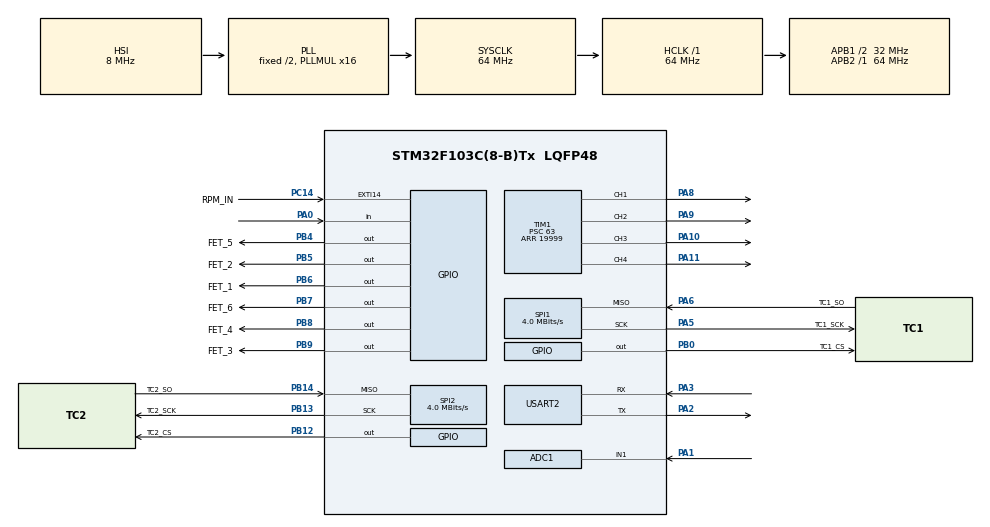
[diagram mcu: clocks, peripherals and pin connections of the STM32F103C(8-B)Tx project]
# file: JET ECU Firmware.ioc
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ADC1.Channel-0\#ChannelRegularConversion=ADC_CHANNEL_1
ADC1.Channel-1\#ChannelRegularConversion=ADC_CHANNEL_TEMPSENSOR
ADC1.ContinuousConvMode=ENABLE
ADC1.NbrOfConversion=2
ADC1.NbrOfConversionFlag=1
ADC1.Rank-0\#ChannelRegularConversion=1
ADC1.Rank-1\#ChannelRegularConversion=2
ADC1.SamplingTime-0\#ChannelRegularConversion=ADC_SAMPLETIME_239CYCLES_5
ADC1.SamplingTime-1\#ChannelRegularConversion=ADC_SAMPLETIME_239CYCLES_5
ADC1.master=1
Dma.ADC1.0.Direction=DMA_PERIPH_TO_MEMORY
Dma.ADC1.0.Instance=DMA1_Channel1
Dma.ADC1.0.MemDataAlignment=DMA_MDATAALIGN_HALFWORD
Dma.ADC1.0.MemInc=DMA_MINC_ENABLE
Dma.ADC1.0.Mode=DMA_CIRCULAR
Dma.ADC1.0.PeriphDataAlignment=DMA_PDATAALIGN_HALFWORD
Dma.ADC1.0.PeriphInc=DMA_PINC_DISABLE
Dma.ADC1.0.Priority=DMA_PRIORITY_MEDIUM
Dma.Request0=ADC1
Dma.Request1=USART2_RX
Dma.Request2=USART2_TX
Dma.Request3=SPI1_RX
Dma.Request4=SPI2_RX
Dma.SPI1_RX.3.Direction=DMA_PERIPH_TO_MEMORY
Dma.SPI1_RX.3.Instance=DMA1_Channel2
Dma.SPI1_RX.3.MemDataAlignment=DMA_MDATAALIGN_BYTE
Dma.SPI1_RX.3.MemInc=DMA_MINC_ENABLE
Dma.SPI1_RX.3.Mode=DMA_NORMAL
Dma.SPI1_RX.3.PeriphDataAlignment=DMA_PDATAALIGN_BYTE
Dma.SPI1_RX.3.PeriphInc=DMA_PINC_DISABLE
Dma.SPI1_RX.3.Priority=DMA_PRIORITY_MEDIUM
Dma.SPI2_RX.4.Direction=DMA_PERIPH_TO_MEMORY
Dma.SPI2_RX.4.Instance=DMA1_Channel4
Dma.SPI2_RX.4.MemDataAlignment=DMA_MDATAALIGN_BYTE
Dma.SPI2_RX.4.MemInc=DMA_MINC_ENABLE
Dma.SPI2_RX.4.Mode=DMA_NORMAL
Dma.SPI2_RX.4.PeriphDataAlignment=DMA_PDATAALIGN_BYTE
Dma.SPI2_RX.4.PeriphInc=DMA_PINC_DISABLE
Dma.SPI2_RX.4.Priority=DMA_PRIORITY_MEDIUM
Dma.USART2_RX.1.Direction=DMA_PERIPH_TO_MEMORY
Dma.USART2_RX.1.Instance=DMA1_Channel6
Dma.USART2_RX.1.MemDataAlignment=DMA_MDATAALIGN_BYTE
Dma.USART2_RX.1.MemInc=DMA_MINC_ENABLE
Dma.USART2_RX.1.Mode=DMA_NORMAL
Dma.USART2_RX.1.PeriphDataAlignment=DMA_PDATAALIGN_BYTE
Dma.USART2_RX.1.PeriphInc=DMA_PINC_DISABLE
Dma.USART2_RX.1.Priority=DMA_PRIORITY_MEDIUM
Dma.USART2_TX.2.Direction=DMA_MEMORY_TO_PERIPH
Dma.USART2_TX.2.Instance=DMA1_Channel7
Dma.USART2_TX.2.MemDataAlignment=DMA_MDATAALIGN_BYTE
Dma.USART2_TX.2.MemInc=DMA_MINC_ENABLE
Dma.USART2_TX.2.Mode=DMA_NORMAL
Dma.USART2_TX.2.PeriphDataAlignment=DMA_PDATAALIGN_BYTE
Dma.USART2_TX.2.PeriphInc=DMA_PINC_DISABLE
Dma.USART2_TX.2.Priority=DMA_PRIORITY_MEDIUM
FREERTOS.Tasks01=defaultTask,24,128,StartDefaultTask,Default,NULL,Dynamic,NULL,NULL
FREERTOS.configTOTAL_HEAP_SIZE=8192
Mcu.Family=STM32F1
Mcu.Name=STM32F103C(8-B)Tx
Mcu.Package=LQFP48
NVIC.DMA1_Channel1_IRQn=true\:6\:0\:true\:false\:true\:true\:false\:true\:true
NVIC.DMA1_Channel2_IRQn=true\:6\:0\:true\:false\:true\:true\:false\:true\:true
NVIC.DMA1_Channel4_IRQn=true\:6\:0\:true\:false\:true\:true\:false\:true\:true
NVIC.DMA1_Channel6_IRQn=true\:6\:0\:true\:false\:true\:true\:false\:true\:true
NVIC.DMA1_Channel7_IRQn=true\:6\:0\:true\:false\:true\:true\:false\:true\:true
NVIC.EXTI15_10_IRQn=true\:6\:0\:true\:false\:true\:true\:true\:true\:true
NVIC.PriorityGroup=NVIC_PRIORITYGROUP_4
NVIC.TIM3_IRQn=true\:15\:0\:false\:false\:true\:false\:false\:true\:true
NVIC.TimeBase=TIM3_IRQn
NVIC.TimeBaseIP=TIM3
NVIC.USART2_IRQn=true\:6\:0\:true\:false\:true\:true\:true\:true\:true
PA0-WKUP.Signal=GPIO_Input
PA1.Signal=ADCx_IN1
PA10.Signal=S_TIM1_CH3
PA11.Signal=S_TIM1_CH4
PA13.Mode=Serial_Wire
PA13.Signal=SYS_JTMS-SWDIO
PA14.Mode=Serial_Wire
PA14.Signal=SYS_JTCK-SWCLK
PA2.Mode=Asynchronous
PA2.Signal=USART2_TX
PA3.Mode=Asynchronous
PA3.Signal=USART2_RX
PA5.GPIO_Label=TC1_SCK
PA5.Mode=RX_Only_Simplex_Unidirect_Master
PA5.Signal=SPI1_SCK
PA6.GPIO_Label=TC1_SO
PA6.Mode=RX_Only_Simplex_Unidirect_Master
PA6.Signal=SPI1_MISO
PA8.Signal=S_TIM1_CH1
PA9.Signal=S_TIM1_CH2
PB0.GPIO_Label=TC1_CS
PB0.GPIO_Speed=GPIO_SPEED_FREQ_MEDIUM
PB0.PinState=GPIO_PIN_SET
PB0.Signal=GPIO_Output
PB12.GPIO_Label=TC2_CS
PB12.GPIO_Speed=GPIO_SPEED_FREQ_MEDIUM
PB12.PinState=GPIO_PIN_SET
PB12.Signal=GPIO_Output
PB13.GPIO_Label=TC2_SCK
PB13.Mode=RX_Only_Simplex_Unidirect_Master
PB13.Signal=SPI2_SCK
PB14.GPIO_Label=TC2_SO
PB14.Mode=RX_Only_Simplex_Unidirect_Master
PB14.Signal=SPI2_MISO
PB4.GPIO_Label=FET_5
PB4.Signal=GPIO_Output
PB5.GPIO_Label=FET_2
PB5.Signal=GPIO_Output
PB6.GPIO_Label=FET_1
PB6.Signal=GPIO_Output
PB7.GPIO_Label=FET_6
PB7.Signal=GPIO_Output
PB8.GPIO_Label=FET_4
PB8.Signal=GPIO_Output
PB9.GPIO_Label=FET_3
PB9.Signal=GPIO_Output
PC14-OSC32_IN.GPIO_Label=RPM_IN
PC14-OSC32_IN.Signal=GPXTI14
ProjectManager.HeapSize=0x200
ProjectManager.StackSize=0x400
ProjectManager.TargetToolchain=STM32CubeIDE
RCC.ADCPresc=RCC_ADCPCLK2_DIV6
RCC.AHBFreq_Value=64000000
RCC.APB1CLKDivider=RCC_HCLK_DIV2
RCC.APB1Freq_Value=32000000
RCC.APB1TimFreq_Value=64000000
RCC.APB2Freq_Value=64000000
RCC.APB2TimFreq_Value=64000000
RCC.HCLKFreq_Value=64000000
RCC.PLLMUL=RCC_PLL_MUL16
RCC.SYSCLKFreq_VALUE=64000000
RCC.SYSCLKSource=RCC_SYSCLKSOURCE_PLLCLK
RCC.USBFreq_Value=64000000
SH.ADCx_IN1.0=ADC1_IN1,IN1
SH.S_TIM1_CH1.0=TIM1_CH1,PWM Generation1 CH1
SH.S_TIM1_CH2.0=TIM1_CH2,PWM Generation2 CH2
SH.S_TIM1_CH3.0=TIM1_CH3,PWM Generation3 CH3
SH.S_TIM1_CH4.0=TIM1_CH4,Output Compare4 CH4
SPI1.BaudRatePrescaler=SPI_BAUDRATEPRESCALER_16
SPI1.CalculateBaudRate=4.0 MBits/s
SPI1.Direction=SPI_DIRECTION_2LINES_RXONLY
SPI1.Mode=SPI_MODE_MASTER
SPI1.VirtualType=VM_MASTER
SPI2.BaudRatePrescaler=SPI_BAUDRATEPRESCALER_8
SPI2.CalculateBaudRate=4.0 MBits/s
SPI2.Direction=SPI_DIRECTION_2LINES_RXONLY
SPI2.Mode=SPI_MODE_MASTER
SPI2.VirtualType=VM_MASTER
TIM1.AutoReloadPreload=TIM_AUTORELOAD_PRELOAD_ENABLE
TIM1.Channel-Output\ Compare4\ CH4=TIM_CHANNEL_4
TIM1.Channel-PWM\ Generation1\ CH1=TIM_CHANNEL_1
TIM1.Channel-PWM\ Generation2\ CH2=TIM_CHANNEL_2
TIM1.Channel-PWM\ Generation3\ CH3=TIM_CHANNEL_3
TIM1.Period=19999
TIM1.Prescaler=63
USART2.VirtualMode=VM_ASYNC
VP_ADC1_TempSens_Input.Mode=IN-TempSens
VP_FREERTOS_VS_CMSIS_V2.Mode=CMSIS_V2
VP_SYS_VS_tim3.Mode=TIM3
board=custom

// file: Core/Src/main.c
/* USER CODE BEGIN Header */
/**
  ******************************************************************************
  * @file           : main.c
  * @brief          : Main program body
  ******************************************************************************
  * @attention
  *
  * Copyright (c) 2026 STMicroelectronics.
  * All rights reserved.
  *
  * This software is licensed under terms that can be found in the LICENSE file
  * in the root directory of this software component.
  * If no LICENSE file comes with this software, it is provided AS-IS.
  *
  ******************************************************************************
  */
/* USER CODE END Header */
#include "main.h"
#include "cmsis_os.h"

/* USER CODE BEGIN Includes */
#include <string.h>
#include <stdio.h>
/* USER CODE END Includes */

/* USER CODE BEGIN PD */

/* ── Battery voltage two-point calibration (raw ADC count based) ─────────────
   Direct linear interpolation between two known (raw, voltage) points —
   no forced "0 V" anchor, since that raw value drifts whenever the sense
   line's ground reference changes (e.g. powering the board from the
   battery supply vs. from USB). Anchoring on two real mid/high-range
   measurements instead is immune to that shift.

   HOW TO RECALIBRATE (if the supply/ground path changes again):
     1. Apply a known low voltage, note "Raw: xxxx" → LO point.
     2. Apply a known high voltage, note "Raw: xxxx" → HI point.
        (Use the widest voltage separation you can — it minimizes error.)
     3. Set the four constants below from those two readings.

   Board measurements (2026-07-02, direct-supply powered, re-checked):
     5.00 V → Raw 770  |  24.00 V → Raw 3710
   Anchored on the widest available separation (5 V / 24 V).                */
#define VBATT_RAW_LO     770UL   /* raw count at VBATT_MV_LO actual voltage */
#define VBATT_MV_LO     5000UL   /* actual voltage at the low calibration point (mV) */
#define VBATT_RAW_HI    3710UL   /* raw count at VBATT_MV_HI actual voltage */
#define VBATT_MV_HI    24000UL   /* actual voltage at the high calibration point (mV) */
#define VBATT_RAW_FLOOR  250UL   /* below this, treat as no battery connected → 0.00 V */

/* USER CODE END PD */

ADC_HandleTypeDef hadc1;
DMA_HandleTypeDef hdma_adc1;

SPI_HandleTypeDef hspi1;
SPI_HandleTypeDef hspi2;
DMA_HandleTypeDef hdma_spi1_rx;
DMA_HandleTypeDef hdma_spi2_rx;

TIM_HandleTypeDef htim1;

UART_HandleTypeDef huart2;
DMA_HandleTypeDef hdma_usart2_rx;
DMA_HandleTypeDef hdma_usart2_tx;

/* Definitions for defaultTask */
osThreadId_t defaultTaskHandle;
const osThreadAttr_t defaultTask_attributes = {
  .name = "defaultTask",
  .stack_size = 128 * 4,
  .priority = (osPriority_t) osPriorityNormal,
};
/* USER CODE BEGIN PV */

/* ── ADC DMA buffer ─────────────────────────────────────────────────────────
   [0] = Battery voltage raw (PA1 / CH1)
   [1] = MCU temperature raw (internal TEMPSENSOR / CH16)
   DMA runs in circular mode — just read these two values anytime.           */
static uint16_t adc_buf[2];

/* ── RC PWM input (PA0, GPIO polling via DWT — matches Arduino pulseIn) ─── */
static uint32_t rc_pw_min        = 1535U;     /* default 0 % position (µs)  */
static uint32_t rc_pw_max        = 1950U;     /* default 100 % position (µs) */
static uint32_t rc_last_pw       = 1500;      /* last accepted pulse width   */
static uint32_t rc_last_valid_ms = 0;         /* kernel tick of last valid PW */
#define RC_MAX_STEP   400U                    /* max µs jump between samples  */
#define RC_TIMEOUT_MS 500U                    /* signal-loss timeout          */

/* ── UART RX ────────────────────────────────────────────────────────────── */
#define RX_BUF_SIZE 64
static uint8_t rx_dma_buf[RX_BUF_SIZE];      /* DMA target (circular)       */
static char    rx_cmd[RX_BUF_SIZE];          /* command copied on IDLE event */

/* ── FET GPIO pin array (index 0=FET1 … 5=FET6, all GPIOB) ────────────── */
static const uint16_t FET_PIN[6] = {
    FET_1_Pin, FET_2_Pin, FET_3_Pin,
    FET_4_Pin, FET_5_Pin, FET_6_Pin
};

/* ── RTOS synchronisation objects ──────────────────────────────────────── */
static osMutexId_t     uart_tx_mutex;   /* one sender at a time              */
static osSemaphoreId_t uart_cmd_sem;    /* signalled by UART RX IDLE ISR     */

/* ── Task handles ───────────────────────────────────────────────────────── */
static osThreadId_t throttleTaskHandle;
static osThreadId_t voltageTaskHandle;
static osThreadId_t fetReportTaskHandle;
static osThreadId_t serialRxTaskHandle;

/* USER CODE END PV */

void SystemClock_Config(void);
static void MX_GPIO_Init(void);
static void MX_DMA_Init(void);
static void MX_ADC1_Init(void);
static void MX_TIM1_Init(void);
static void MX_USART2_UART_Init(void);
static void MX_SPI1_Init(void);
static void MX_SPI2_Init(void);
void StartDefaultTask(void *argument);

/* USER CODE BEGIN PFP */
static void     uart_send(const char *str);
static uint32_t pulseIn_us(GPIO_TypeDef *port, uint16_t pin, uint32_t timeout_us);
static uint32_t sample_rc_pw(uint8_t n);
void ThrottleTask(void *arg);
void VoltageTask(void *arg);
void FETReportTask(void *arg);
void SerialRxTask(void *arg);
/* USER CODE END PFP */

int main(void)
{

  /* MCU Configuration--------------------------------------------------------*/

  /* Reset of all peripherals, Initializes the Flash interface and the Systick. */
  HAL_Init();

  /* Configure the system clock */
  SystemClock_Config();

  /* Initialize all configured peripherals */
  MX_GPIO_Init();
  MX_DMA_Init();
  MX_ADC1_Init();
  MX_TIM1_Init();
  MX_USART2_UART_Init();
  MX_SPI1_Init();
  MX_SPI2_Init();
  /* USER CODE BEGIN 2 */

  /* ADC self-calibration — recommended for F103 before first DMA conversion */
  HAL_ADCEx_Calibration_Start(&hadc1);

  /* Start continuous ADC→DMA: fills adc_buf[0]=BATT, [1]=MCU_TEMP forever  */
  HAL_ADC_Start_DMA(&hadc1, (uint32_t *)adc_buf, 2);

  /* Enable DWT cycle counter — 32-bit, 64 MHz, wraps every ~67 s. */
  CoreDebug->DEMCR |= CoreDebug_DEMCR_TRCENA_Msk;
  DWT->CYCCNT = 0;
  DWT->CTRL  |= DWT_CTRL_CYCCNTENA_Msk;

  /* ESC PWM output — TIM1_CH3 (PA10), 1 MHz counter (PSC=63, ARR=19999)
     gives a 20 ms (50 Hz) period with the CCR value directly in µs, so it
     matches the standard 1000–2000 µs RC/ESC pulse convention. Starts at
     1000 µs (0 % throttle / ESC armed-and-idle) before the RTOS takes over. */
  HAL_TIM_PWM_Start(&htim1, TIM_CHANNEL_3);
  __HAL_TIM_SET_COMPARE(&htim1, TIM_CHANNEL_3, 1000U);

  /* Start UART2 RX DMA with IDLE detection — fires callback on each command  */
  HAL_UARTEx_ReceiveToIdle_DMA(&huart2, rx_dma_buf, RX_BUF_SIZE);
  __HAL_DMA_DISABLE_IT(huart2.hdmarx, DMA_IT_HT); /* suppress half-transfer */

  /* Boot banner — blocking TX before RTOS scheduler starts                   */
  HAL_UART_Transmit(&huart2, (uint8_t *)"JET ECU V1.0 Ready\r\n", 20, 100);

  /* USER CODE END 2 */

  /* Init scheduler */
  osKernelInitialize();

  /* USER CODE BEGIN RTOS_MUTEX */
  uart_tx_mutex = osMutexNew(NULL);
  /* USER CODE END RTOS_MUTEX */

  /* USER CODE BEGIN RTOS_SEMAPHORES */
  uart_cmd_sem = osSemaphoreNew(1, 0, NULL);   /* binary, starts locked */
  /* USER CODE END RTOS_SEMAPHORES */

  /* Create the thread(s) */
  /* creation of defaultTask */
  defaultTaskHandle = osThreadNew(StartDefaultTask, NULL, &defaultTask_attributes);

  /* USER CODE BEGIN RTOS_THREADS */
  /* 256×4=1024-byte stacks: snprintf+uart_send+FreeRTOS context save need ~500 bytes */
  static const osThreadAttr_t thr_attr = { .name="ThrottleTask",  .stack_size=256*4, .priority=osPriorityAboveNormal };
  static const osThreadAttr_t volt_attr= { .name="VoltageTask",   .stack_size=256*4, .priority=osPriorityNormal      };
  static const osThreadAttr_t fet_attr = { .name="FETReportTask", .stack_size=256*4, .priority=osPriorityNormal      };
  static const osThreadAttr_t rx_attr  = { .name="SerialRxTask",  .stack_size=256*4, .priority=osPriorityHigh        };

  throttleTaskHandle  = osThreadNew(ThrottleTask,  NULL, &thr_attr);
  voltageTaskHandle   = osThreadNew(VoltageTask,   NULL, &volt_attr);
  fetReportTaskHandle = osThreadNew(FETReportTask, NULL, &fet_attr);
  serialRxTaskHandle  = osThreadNew(SerialRxTask,  NULL, &rx_attr);
  /* USER CODE END RTOS_THREADS */

  /* Start scheduler */
  osKernelStart();

  /* We should never get here as control is now taken by the scheduler */

  /* Infinite loop */
  while (1)
  {

  }
}

void SystemClock_Config(void)
{
  RCC_OscInitTypeDef RCC_OscInitStruct = {0};
  RCC_ClkInitTypeDef RCC_ClkInitStruct = {0};
  RCC_PeriphCLKInitTypeDef PeriphClkInit = {0};

  /** Initializes the RCC Oscillators according to the specified parameters
  * in the RCC_OscInitTypeDef structure.
  */
  RCC_OscInitStruct.OscillatorType = RCC_OSCILLATORTYPE_HSI;
  RCC_OscInitStruct.HSIState = RCC_HSI_ON;
  RCC_OscInitStruct.HSICalibrationValue = RCC_HSICALIBRATION_DEFAULT;
  RCC_OscInitStruct.PLL.PLLState = RCC_PLL_ON;
  RCC_OscInitStruct.PLL.PLLSource = RCC_PLLSOURCE_HSI_DIV2;
  RCC_OscInitStruct.PLL.PLLMUL = RCC_PLL_MUL16;
  if (HAL_RCC_OscConfig(&RCC_OscInitStruct) != HAL_OK)
  {
    Error_Handler();
  }

  /** Initializes the CPU, AHB and APB buses clocks
  */
  RCC_ClkInitStruct.ClockType = RCC_CLOCKTYPE_HCLK|RCC_CLOCKTYPE_SYSCLK
                              |RCC_CLOCKTYPE_PCLK1|RCC_CLOCKTYPE_PCLK2;
  RCC_ClkInitStruct.SYSCLKSource = RCC_SYSCLKSOURCE_PLLCLK;
  RCC_ClkInitStruct.AHBCLKDivider = RCC_SYSCLK_DIV1;
  RCC_ClkInitStruct.APB1CLKDivider = RCC_HCLK_DIV2;
  RCC_ClkInitStruct.APB2CLKDivider = RCC_HCLK_DIV1;

  if (HAL_RCC_ClockConfig(&RCC_ClkInitStruct, FLASH_LATENCY_2) != HAL_OK)
  {
    Error_Handler();
  }
  PeriphClkInit.PeriphClockSelection = RCC_PERIPHCLK_ADC;
  PeriphClkInit.AdcClockSelection = RCC_ADCPCLK2_DIV6;
  if (HAL_RCCEx_PeriphCLKConfig(&PeriphClkInit) != HAL_OK)
  {
    Error_Handler();
  }
}

static void MX_ADC1_Init(void)
{

  ADC_ChannelConfTypeDef sConfig = {0};

  /** Common config
  */
  hadc1.Instance = ADC1;
  hadc1.Init.ScanConvMode = ADC_SCAN_ENABLE;
  hadc1.Init.ContinuousConvMode = ENABLE;
  hadc1.Init.DiscontinuousConvMode = DISABLE;
  hadc1.Init.ExternalTrigConv = ADC_SOFTWARE_START;
  hadc1.Init.DataAlign = ADC_DATAALIGN_RIGHT;
  hadc1.Init.NbrOfConversion = 2;
  if (HAL_ADC_Init(&hadc1) != HAL_OK)
  {
    Error_Handler();
  }

  /** Configure Regular Channel
  */
  sConfig.Channel = ADC_CHANNEL_1;
  sConfig.Rank = ADC_REGULAR_RANK_1;
  sConfig.SamplingTime = ADC_SAMPLETIME_239CYCLES_5;
  if (HAL_ADC_ConfigChannel(&hadc1, &sConfig) != HAL_OK)
  {
    Error_Handler();
  }

  /** Configure Regular Channel
  */
  sConfig.Channel = ADC_CHANNEL_TEMPSENSOR;
  sConfig.Rank = ADC_REGULAR_RANK_2;
  if (HAL_ADC_ConfigChannel(&hadc1, &sConfig) != HAL_OK)
  {
    Error_Handler();
  }

}

static void MX_SPI1_Init(void)
{

  /* SPI1 parameter configuration*/
  hspi1.Instance = SPI1;
  hspi1.Init.Mode = SPI_MODE_MASTER;
  hspi1.Init.Direction = SPI_DIRECTION_2LINES_RXONLY;
  hspi1.Init.DataSize = SPI_DATASIZE_8BIT;
  hspi1.Init.CLKPolarity = SPI_POLARITY_LOW;
  hspi1.Init.CLKPhase = SPI_PHASE_1EDGE;
  hspi1.Init.NSS = SPI_NSS_SOFT;
  hspi1.Init.BaudRatePrescaler = SPI_BAUDRATEPRESCALER_16;
  hspi1.Init.FirstBit = SPI_FIRSTBIT_MSB;
  hspi1.Init.TIMode = SPI_TIMODE_DISABLE;
  hspi1.Init.CRCCalculation = SPI_CRCCALCULATION_DISABLE;
  hspi1.Init.CRCPolynomial = 10;
  if (HAL_SPI_Init(&hspi1) != HAL_OK)
  {
    Error_Handler();
  }

}

static void MX_SPI2_Init(void)
{

  /* SPI2 parameter configuration*/
  hspi2.Instance = SPI2;
  hspi2.Init.Mode = SPI_MODE_MASTER;
  hspi2.Init.Direction = SPI_DIRECTION_2LINES_RXONLY;
  hspi2.Init.DataSize = SPI_DATASIZE_8BIT;
  hspi2.Init.CLKPolarity = SPI_POLARITY_LOW;
  hspi2.Init.CLKPhase = SPI_PHASE_1EDGE;
  hspi2.Init.NSS = SPI_NSS_SOFT;
  hspi2.Init.BaudRatePrescaler = SPI_BAUDRATEPRESCALER_8;
  hspi2.Init.FirstBit = SPI_FIRSTBIT_MSB;
  hspi2.Init.TIMode = SPI_TIMODE_DISABLE;
  hspi2.Init.CRCCalculation = SPI_CRCCALCULATION_DISABLE;
  hspi2.Init.CRCPolynomial = 10;
  if (HAL_SPI_Init(&hspi2) != HAL_OK)
  {
    Error_Handler();
  }

}

static void MX_TIM1_Init(void)
{

  TIM_MasterConfigTypeDef sMasterConfig = {0};
  TIM_OC_InitTypeDef sConfigOC = {0};
  TIM_BreakDeadTimeConfigTypeDef sBreakDeadTimeConfig = {0};

  htim1.Instance = TIM1;
  htim1.Init.Prescaler = 63;
  htim1.Init.CounterMode = TIM_COUNTERMODE_UP;
  htim1.Init.Period = 19999;
  htim1.Init.ClockDivision = TIM_CLOCKDIVISION_DIV1;
  htim1.Init.RepetitionCounter = 0;
  htim1.Init.AutoReloadPreload = TIM_AUTORELOAD_PRELOAD_ENABLE;
  if (HAL_TIM_PWM_Init(&htim1) != HAL_OK)
  {
    Error_Handler();
  }
  if (HAL_TIM_OC_Init(&htim1) != HAL_OK)
  {
    Error_Handler();
  }
  sMasterConfig.MasterOutputTrigger = TIM_TRGO_RESET;
  sMasterConfig.MasterSlaveMode = TIM_MASTERSLAVEMODE_DISABLE;
  if (HAL_TIMEx_MasterConfigSynchronization(&htim1, &sMasterConfig) != HAL_OK)
  {
    Error_Handler();
  }
  sConfigOC.OCMode = TIM_OCMODE_PWM1;
  sConfigOC.Pulse = 0;
  sConfigOC.OCPolarity = TIM_OCPOLARITY_HIGH;
  sConfigOC.OCNPolarity = TIM_OCNPOLARITY_HIGH;
  sConfigOC.OCFastMode = TIM_OCFAST_DISABLE;
  sConfigOC.OCIdleState = TIM_OCIDLESTATE_RESET;
  sConfigOC.OCNIdleState = TIM_OCNIDLESTATE_RESET;
  if (HAL_TIM_PWM_ConfigChannel(&htim1, &sConfigOC, TIM_CHANNEL_1) != HAL_OK)
  {
    Error_Handler();
  }
  if (HAL_TIM_PWM_ConfigChannel(&htim1, &sConfigOC, TIM_CHANNEL_2) != HAL_OK)
  {
    Error_Handler();
  }
  if (HAL_TIM_PWM_ConfigChannel(&htim1, &sConfigOC, TIM_CHANNEL_3) != HAL_OK)
  {
    Error_Handler();
  }
  sConfigOC.OCMode = TIM_OCMODE_TIMING;
  if (HAL_TIM_OC_ConfigChannel(&htim1, &sConfigOC, TIM_CHANNEL_4) != HAL_OK)
  {
    Error_Handler();
  }
  sBreakDeadTimeConfig.OffStateRunMode = TIM_OSSR_DISABLE;
  sBreakDeadTimeConfig.OffStateIDLEMode = TIM_OSSI_DISABLE;
  sBreakDeadTimeConfig.LockLevel = TIM_LOCKLEVEL_OFF;
  sBreakDeadTimeConfig.DeadTime = 0;
  sBreakDeadTimeConfig.BreakState = TIM_BREAK_DISABLE;
  sBreakDeadTimeConfig.BreakPolarity = TIM_BREAKPOLARITY_HIGH;
  sBreakDeadTimeConfig.AutomaticOutput = TIM_AUTOMATICOUTPUT_DISABLE;
  if (HAL_TIMEx_ConfigBreakDeadTime(&htim1, &sBreakDeadTimeConfig) != HAL_OK)
  {
    Error_Handler();
  }
  HAL_TIM_MspPostInit(&htim1);

}

static void MX_USART2_UART_Init(void)
{

  huart2.Instance = USART2;
  huart2.Init.BaudRate = 115200;
  huart2.Init.WordLength = UART_WORDLENGTH_8B;
  huart2.Init.StopBits = UART_STOPBITS_1;
  huart2.Init.Parity = UART_PARITY_NONE;
  huart2.Init.Mode = UART_MODE_TX_RX;
  huart2.Init.HwFlowCtl = UART_HWCONTROL_NONE;
  huart2.Init.OverSampling = UART_OVERSAMPLING_16;
  if (HAL_UART_Init(&huart2) != HAL_OK)
  {
    Error_Handler();
  }

}

static void MX_DMA_Init(void)
{

  /* DMA controller clock enable */
  __HAL_RCC_DMA1_CLK_ENABLE();

  /* DMA interrupt init */
  /* DMA1_Channel1_IRQn interrupt configuration */
  HAL_NVIC_SetPriority(DMA1_Channel1_IRQn, 6, 0);
  HAL_NVIC_EnableIRQ(DMA1_Channel1_IRQn);
  /* DMA1_Channel2_IRQn interrupt configuration */
  HAL_NVIC_SetPriority(DMA1_Channel2_IRQn, 6, 0);
  HAL_NVIC_EnableIRQ(DMA1_Channel2_IRQn);
  /* DMA1_Channel4_IRQn interrupt configuration */
  HAL_NVIC_SetPriority(DMA1_Channel4_IRQn, 6, 0);
  HAL_NVIC_EnableIRQ(DMA1_Channel4_IRQn);
  /* DMA1_Channel6_IRQn interrupt configuration */
  HAL_NVIC_SetPriority(DMA1_Channel6_IRQn, 6, 0);
  HAL_NVIC_EnableIRQ(DMA1_Channel6_IRQn);
  /* DMA1_Channel7_IRQn interrupt configuration */
  HAL_NVIC_SetPriority(DMA1_Channel7_IRQn, 6, 0);
  HAL_NVIC_EnableIRQ(DMA1_Channel7_IRQn);

}

static void MX_GPIO_Init(void)
{
  GPIO_InitTypeDef GPIO_InitStruct = {0};

  /* GPIO Ports Clock Enable */
  __HAL_RCC_GPIOC_CLK_ENABLE();
  __HAL_RCC_GPIOA_CLK_ENABLE();
  __HAL_RCC_GPIOB_CLK_ENABLE();

  /*Configure GPIO pin Output Level */
  HAL_GPIO_WritePin(GPIOB, TC1_CS_Pin|TC2_CS_Pin, GPIO_PIN_SET);

  /*Configure GPIO pin Output Level */
  HAL_GPIO_WritePin(GPIOB, FET_5_Pin|FET_2_Pin|FET_1_Pin|FET_6_Pin
                          |FET_4_Pin|FET_3_Pin, GPIO_PIN_RESET);

  /*Configure GPIO pin : RPM_IN_Pin */
  GPIO_InitStruct.Pin = RPM_IN_Pin;
  GPIO_InitStruct.Mode = GPIO_MODE_IT_RISING;
  GPIO_InitStruct.Pull = GPIO_NOPULL;
  HAL_GPIO_Init(RPM_IN_GPIO_Port, &GPIO_InitStruct);

  /*Configure GPIO pin : PA0 */
  GPIO_InitStruct.Pin = GPIO_PIN_0;
  GPIO_InitStruct.Mode = GPIO_MODE_INPUT;
  GPIO_InitStruct.Pull = GPIO_NOPULL;
  HAL_GPIO_Init(GPIOA, &GPIO_InitStruct);

  /*Configure GPIO pins : TC1_CS_Pin TC2_CS_Pin */
  GPIO_InitStruct.Pin = TC1_CS_Pin|TC2_CS_Pin;
  GPIO_InitStruct.Mode = GPIO_MODE_OUTPUT_PP;
  GPIO_InitStruct.Pull = GPIO_NOPULL;
  GPIO_InitStruct.Speed = GPIO_SPEED_FREQ_MEDIUM;
  HAL_GPIO_Init(GPIOB, &GPIO_InitStruct);

  /*Configure GPIO pins : FET_5_Pin FET_2_Pin FET_1_Pin FET_6_Pin
                           FET_4_Pin FET_3_Pin */
  GPIO_InitStruct.Pin = FET_5_Pin|FET_2_Pin|FET_1_Pin|FET_6_Pin
                          |FET_4_Pin|FET_3_Pin;
  GPIO_InitStruct.Mode = GPIO_MODE_OUTPUT_PP;
  GPIO_InitStruct.Pull = GPIO_NOPULL;
  GPIO_InitStruct.Speed = GPIO_SPEED_FREQ_LOW;
  HAL_GPIO_Init(GPIOB, &GPIO_InitStruct);

  /* EXTI interrupt init*/
  HAL_NVIC_SetPriority(EXTI15_10_IRQn, 6, 0);
  HAL_NVIC_EnableIRQ(EXTI15_10_IRQn);

}

/* USER CODE BEGIN 4 */

/* ── UART helpers ─────────────────────────────────────────────────────────
   uart_send() acquires a mutex (one sender at a time) then calls the
   blocking HAL_UART_Transmit.  At 115200 baud the longest message is ~4 ms;
   FreeRTOS will time-slice other tasks during that window.  The blocking
   approach is simpler and more reliable than DMA TX + semaphore because it
   avoids the race where DMA completes before osSemaphoreAcquire is reached
   and the risk of semaphore corruption from a stack overflow in the task.    */

static void uart_send(const char *str)
{
    uint16_t len = (uint16_t)strlen(str);
    if (len == 0) return;
    osMutexAcquire(uart_tx_mutex, osWaitForever);
    HAL_UART_Transmit(&huart2, (uint8_t *)str, len, HAL_MAX_DELAY);
    osMutexRelease(uart_tx_mutex);
}

/* Called from DMA IRQ on IDLE line or buffer full.
   Copies received bytes to rx_cmd, signals SerialRxTask, re-arms DMA.       */
void HAL_UARTEx_RxEventCallback(UART_HandleTypeDef *huart, uint16_t Size)
{
    if (huart->Instance == USART2 && Size > 0 && Size < RX_BUF_SIZE) {
        memcpy(rx_cmd, rx_dma_buf, Size);
        rx_cmd[Size] = '\0';
        osSemaphoreRelease(uart_cmd_sem);
        HAL_UARTEx_ReceiveToIdle_DMA(&huart2, rx_dma_buf, RX_BUF_SIZE);
        __HAL_DMA_DISABLE_IT(huart2.hdmarx, DMA_IT_HT);
    }
}

/* ── RC PWM — direct GPIO polling, equivalent to Arduino pulseIn() ────────
   Waits for a HIGH pulse on PA0 within timeout_us microseconds.
   Uses DWT cycle counter (enabled in USER CODE BEGIN 2, 64 cycles = 1 µs).
   A shared deadline across all three phases means total wait ≤ timeout_us.   */

static uint32_t pulseIn_us(GPIO_TypeDef *port, uint16_t pin, uint32_t timeout_us)
{
    uint32_t deadline = DWT->CYCCNT + timeout_us * 64U;
    /* if pin is already HIGH, wait for it to go LOW first (skip current pulse) */
    while (HAL_GPIO_ReadPin(port, pin) == GPIO_PIN_SET)
        if ((int32_t)(DWT->CYCCNT - deadline) >= 0) return 0;
    /* wait for rising edge */
    while (HAL_GPIO_ReadPin(port, pin) == GPIO_PIN_RESET)
        if ((int32_t)(DWT->CYCCNT - deadline) >= 0) return 0;
    uint32_t rise = DWT->CYCCNT;
    /* measure until falling edge */
    while (HAL_GPIO_ReadPin(port, pin) == GPIO_PIN_SET)
        if ((int32_t)(DWT->CYCCNT - deadline) >= 0) return 0;
    return (DWT->CYCCNT - rise) / 64U;
}

/* ── RC calibration helper ────────────────────────────────────────────────
   Directly measures n pulses (25 ms timeout each) — matches Arduino samplePW().
   Called from SerialRxTask; blocks up to n × (25 ms + 50 ms) ≈ 1.5 s.       */

static uint32_t sample_rc_pw(uint8_t n)
{
    uint32_t sum = 0; uint8_t cnt = 0;
    for (uint8_t i = 0; i < n; i++) {
        uint32_t pw = pulseIn_us(GPIOA, GPIO_PIN_0, 25000U);
        if (pw >= 900U && pw <= 2100U) { sum += pw; cnt++; }
        osDelay(50);
    }
    return cnt ? (sum / cnt) : 0U;
}

/* ── Task: ThrottleTask (200 ms) ──────────────────────────────────────────
   Spike filter: reject any jump > RC_MAX_STEP µs.
   Signal-loss: if no valid pulse for RC_TIMEOUT_MS, output 0 %.
   Output: THR: xxx\r\n                                                       */

void ThrottleTask(void *arg)
{
    char buf[32];
    for (;;) {
        uint32_t pw = pulseIn_us(GPIOA, GPIO_PIN_0, 50000U);

        if (pw >= 900U && pw <= 2100U) {
            uint32_t delta = (pw > rc_last_pw) ? (pw - rc_last_pw) : (rc_last_pw - pw);
            if (delta <= RC_MAX_STEP || rc_last_pw == 1500U) {
                rc_last_pw       = pw;
                rc_last_valid_ms = osKernelGetTickCount();
            }
        }

        if ((osKernelGetTickCount() - rc_last_valid_ms) > RC_TIMEOUT_MS)
            rc_last_pw = 1500U;

        uint32_t thr = 0;
        if (rc_pw_min < rc_pw_max) {
            if (rc_last_pw <= rc_pw_min) {
                thr = 0;
            } else if (rc_last_pw >= rc_pw_max) {
                thr = 100;
            } else {
                thr = (rc_last_pw - rc_pw_min) * 100U / (rc_pw_max - rc_pw_min);
            }
        }

        snprintf(buf, sizeof(buf), "THR: %lu\r\n", thr);
        uart_send(buf);

        /* ESC PWM output — throttle % mapped directly to the 1000–2000 µs
           RC/ESC pulse convention (0 % = 1000 µs, 100 % = 2000 µs).        */
        uint32_t pwm_us = 1000U + (thr * 1000U) / 100U;
        __HAL_TIM_SET_COMPARE(&htim1, TIM_CHANNEL_3, pwm_us);
        snprintf(buf, sizeof(buf), "PWM: %lu\r\n", thr);
        uart_send(buf);

        osDelay(200);
    }
}

/* ── Task: VoltageTask (500 ms batt, 1000 ms MCU temp) ───────────────────
   ADC DMA buffer read directly — no lock needed (16-bit atomic read, and
   small timing skew is irrelevant at these sample rates).

   Integer arithmetic throughout — avoids needing -u _printf_float linker flag.

   Battery divider: R1=39kΩ, R2=5.6kΩ → ratio = 44600/5600
   Calibration factor: 9905/10000 (≈ 0.9905)
   All voltages in mV, formatted with manual decimal split.

   MCU temp: V25=1580 mV (chip-calibrated), slope=4.3 mV/°C
   temp×10 = ((1580 - vt_mv) × 100) / 43 + 250                              */

void VoltageTask(void *arg)
{
    char    buf[64];
    uint8_t mcu_cnt = 0;

    for (;;) {
        /* 256-sample average with 1 ms between reads — 4x the original 64-sample
           window, which halves report-to-report ADC jitter (~sqrt(4)) without
           adding any cross-report lag (no memory carried between reports, so a
           real voltage change still shows up on the very next report).
           Total: 256 ms sampling + osDelay(500) ≈ 756 ms per voltage report.  */
        uint32_t sum = 0;
        for (uint16_t i = 0; i < 256; i++) {
            sum += adc_buf[0];
            osDelay(1);
        }
        uint16_t raw  = (uint16_t)(sum / 256U);

        /* V_ADC at divider output — kept for display and future diagnostics */
        uint32_t vadc = ((uint32_t)raw * 3300U) / 4095U;

        /* Battery voltage via direct two-point linear interpolation between
           VBATT_RAW_LO/MV_LO and VBATT_RAW_HI/MV_HI (see USER CODE BEGIN PD).
           raw ≤ VBATT_RAW_FLOOR means no battery connected → clamp to 0.    */
        uint32_t vbat = 0;
        if (raw > VBATT_RAW_FLOOR) {
            int32_t v = (int32_t)VBATT_MV_LO
                      + ((int32_t)raw - (int32_t)VBATT_RAW_LO)
                        * ((int32_t)VBATT_MV_HI - (int32_t)VBATT_MV_LO)
                        / ((int32_t)VBATT_RAW_HI - (int32_t)VBATT_RAW_LO);
            vbat = (v > 0) ? (uint32_t)v : 0;
        }

        snprintf(buf, sizeof(buf),
                 "Raw: %u\tV_ADC: %lu.%03lu V\tV_BATT: %lu.%02lu V\r\n",
                 raw,
                 vadc / 1000UL, vadc % 1000UL,
                 vbat / 1000UL, (vbat % 1000UL) / 10UL);
        uart_send(buf);

        /* MCU internal temperature — every second (every 2nd cycle) */
        if (++mcu_cnt >= 2) {
            mcu_cnt = 0;
            uint16_t rt   = adc_buf[1];
            int32_t vt_mv = ((int32_t)rt * 3300L) / 4095L;
            int32_t t10   = (((1580L - vt_mv) * 100L) / 43L) + 250L;
            snprintf(buf, sizeof(buf), "MCU: %ld.%ld C\r\n",
                     t10 / 10L, (t10 < 0 ? -t10 : t10) % 10L);
            uart_send(buf);
        }

        osDelay(500);
    }
}

/* ── Task: FETReportTask (200 ms) ─────────────────────────────────────────
   Reads actual GPIO output state via HAL_GPIO_ReadPin (reads ODR, atomic).
   Output: FET:x,x,x,x,x,x\r\n                                               */

void FETReportTask(void *arg)
{
    char buf[24];
    for (;;) {
        snprintf(buf, sizeof(buf), "FET:%u,%u,%u,%u,%u,%u\r\n",
                 (unsigned)HAL_GPIO_ReadPin(GPIOB, FET_PIN[0]),
                 (unsigned)HAL_GPIO_ReadPin(GPIOB, FET_PIN[1]),
                 (unsigned)HAL_GPIO_ReadPin(GPIOB, FET_PIN[2]),
                 (unsigned)HAL_GPIO_ReadPin(GPIOB, FET_PIN[3]),
                 (unsigned)HAL_GPIO_ReadPin(GPIOB, FET_PIN[4]),
                 (unsigned)HAL_GPIO_ReadPin(GPIOB, FET_PIN[5]));
        uart_send(buf);
        osDelay(200);
    }
}

/* ── Task: SerialRxTask (event-driven, high priority) ─────────────────────
   Waits on uart_cmd_sem released by HAL_UARTEx_RxEventCallback.

   Commands:
     FETn:v        set FET n (1-6) to v (0|1)
     CAL_CENTER    sample 20 readings at stick center → sets rc_pw_min
     CAL_FULL      sample 20 readings at full throw   → sets rc_pw_max
     CAL_RESET     clear calibration, throttle returns 0 until recal          */

void SerialRxTask(void *arg)
{
    char cmd[RX_BUF_SIZE];
    char resp[32];

    for (;;) {
        osSemaphoreAcquire(uart_cmd_sem, osWaitForever);

        strncpy(cmd, rx_cmd, RX_BUF_SIZE - 1);
        cmd[RX_BUF_SIZE - 1] = '\0';

        /* Strip CR/LF */
        for (int i = 0; cmd[i]; i++)
            if (cmd[i] == '\r' || cmd[i] == '\n') { cmd[i] = '\0'; break; }

        /* FET_ALL:v — set all 6 FETs HIGH (v=1) or LOW (v=0) */
        if (strncmp(cmd, "FET_ALL:", 8) == 0) {
            GPIO_PinState st = (cmd[8] == '1') ? GPIO_PIN_SET : GPIO_PIN_RESET;
            for (int i = 0; i < 6; i++)
                HAL_GPIO_WritePin(GPIOB, FET_PIN[i], st);
            uart_send(cmd[8]=='1' ? "FET_ALL:1\r\n" : "FET_ALL:0\r\n");
        }
        /* FETn:v — set single FET */
        else if (cmd[0]=='F' && cmd[1]=='E' && cmd[2]=='T' &&
            cmd[3] >= '1' && cmd[3] <= '6' && cmd[4] == ':') {
            int n = cmd[3] - '1';
            HAL_GPIO_WritePin(GPIOB, FET_PIN[n],
                              cmd[5] == '1' ? GPIO_PIN_SET : GPIO_PIN_RESET);
        }
        /* CAL_CENTER */
        else if (strncmp(cmd, "CAL_CENTER", 10) == 0) {
            uint32_t pw = sample_rc_pw(10);
            rc_pw_min = pw; rc_pw_max = 0;
            snprintf(resp, sizeof(resp), "CAL_CENTER:%lu\r\n", pw);
            uart_send(resp);
        }
        /* CAL_FULL */
        else if (strncmp(cmd, "CAL_FULL", 8) == 0) {
            uint32_t pw = sample_rc_pw(10);
            rc_pw_max = pw;
            snprintf(resp, sizeof(resp), "CAL_FULL:%lu\r\n", pw);
            uart_send(resp);
        }
        /* CAL_RESET */
        else if (strncmp(cmd, "CAL_RESET", 9) == 0) {
            rc_pw_min = 0U; rc_pw_max = 0U; rc_last_pw = 1500U;
            uart_send("CAL_RESET:OK\r\n");
        }
    }
}

/* USER CODE END 4 */

void StartDefaultTask(void *argument)
{
  /* USER CODE BEGIN 5 */
  for (;;)
      osDelay(1000);
  /* USER CODE END 5 */
}

void HAL_TIM_PeriodElapsedCallback(TIM_HandleTypeDef *htim)
{
  if (htim->Instance == TIM3)
  {
    HAL_IncTick();
  }
}

void Error_Handler(void)
{
  __disable_irq();
  while (1)
  {
  }
}
